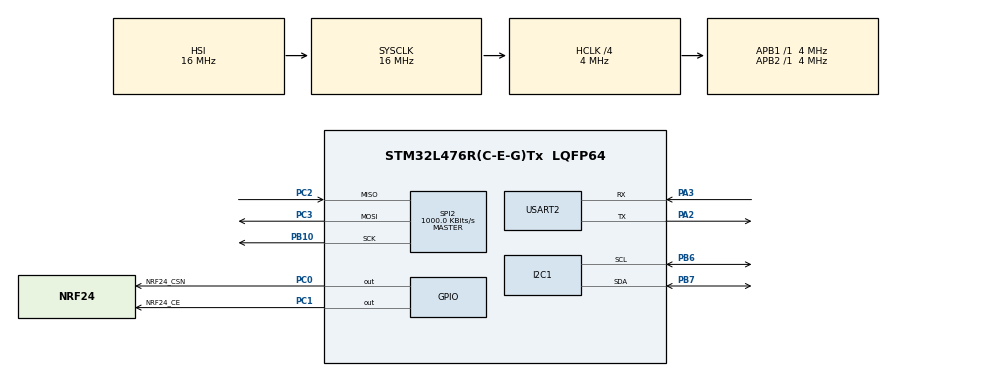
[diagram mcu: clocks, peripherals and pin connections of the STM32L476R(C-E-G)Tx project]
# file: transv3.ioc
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Mcu.Family=STM32L4
Mcu.Name=STM32L476R(C-E-G)Tx
Mcu.Package=LQFP64
NVIC.PriorityGroup=NVIC_PRIORITYGROUP_4
NVIC.RTC_WKUP_IRQn=true\:0\:0\:false\:false\:true\:true\:true\:true
PA2.Mode=Asynchronous
PA2.Signal=USART2_TX
PA3.Mode=Asynchronous
PA3.Signal=USART2_RX
PB10.Mode=Full_Duplex_Master
PB10.Signal=SPI2_SCK
PB6.Mode=I2C
PB6.Signal=I2C1_SCL
PB7.Mode=I2C
PB7.Signal=I2C1_SDA
PC0.GPIO_Label=NRF24_CSN
PC0.Signal=GPIO_Output
PC1.GPIO_Label=NRF24_CE
PC1.Signal=GPIO_Output
PC2.Mode=Full_Duplex_Master
PC2.Signal=SPI2_MISO
PC3.Mode=Full_Duplex_Master
PC3.Signal=SPI2_MOSI
ProjectManager.HeapSize=0x200
ProjectManager.StackSize=0x400
ProjectManager.TargetToolchain=STM32CubeIDE
RCC.ADCFreq_Value=16000000
RCC.AHBCLKDivider=RCC_SYSCLK_DIV4
RCC.AHBFreq_Value=4000000
RCC.APB1Freq_Value=4000000
RCC.APB1TimFreq_Value=4000000
RCC.APB2Freq_Value=4000000
RCC.APB2TimFreq_Value=4000000
RCC.CortexFreq_Value=4000000
RCC.HCLKFreq_Value=4000000
RCC.HSE_VALUE=8000000
RCC.HSI_VALUE=16000000
RCC.LSE_VALUE=32768
RCC.MSI_VALUE=4000000
RCC.PLLN=20
RCC.SYSCLKFreq_VALUE=16000000
RCC.SYSCLKSource=RCC_SYSCLKSOURCE_HSI
RCC.USBFreq_Value=16000000
RCC.VCOOutputFreq_Value=80000000
SPI2.BaudRatePrescaler=SPI_BAUDRATEPRESCALER_4
SPI2.CalculateBaudRate=1000.0 KBits/s
SPI2.DataSize=SPI_DATASIZE_8BIT
SPI2.Direction=SPI_DIRECTION_2LINES
SPI2.Mode=SPI_MODE_MASTER
SPI2.VirtualType=VM_MASTER
USART2.VirtualMode-Asynchronous=VM_ASYNC
VP_RTC_VS_RTC_Activate.Mode=RTC_Enabled
VP_RTC_VS_RTC_WakeUp_intern.Mode=WakeUp
board=custom

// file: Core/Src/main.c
/* USER CODE BEGIN Header */
/**
  ******************************************************************************
  * @file           : main.c
  * @brief          : Main program body
  ******************************************************************************
  * @attention
  *
  * Copyright (c) 2023 STMicroelectronics.
  * All rights reserved.
  *
  * This software is licensed under terms that can be found in the LICENSE file
  * in the root directory of this software component.
  * If no LICENSE file comes with this software, it is provided AS-IS.
  *
  ******************************************************************************
  */
/* USER CODE END Header */
#include "main.h"
#include "i2c.h"
#include "rtc.h"
#include "spi.h"
#include "usart.h"
#include "gpio.h"

/* USER CODE BEGIN Includes */
#include "stdio.h"
#include "nRF24_Defs.h"
#include "nRF24.h"
#include "../BME280/bme280.h"
#include "i2c_driver.h"
/* USER CODE END Includes */

/* USER CODE BEGIN PV */
volatile uint8_t nrf24_rx_flag, nrf24_tx_flag, nrf24_mr_flag;
uint8_t Nrf24_Message[NRF24_PAYLOAD_SIZE];
uint8_t Message[32];
uint8_t MessageLength;
/* USER CODE END PV */

void SystemClock_Config(void);
/* USER CODE BEGIN PFP */

void HAL_RTCEx_WakeUpTimerEventCallback(RTC_HandleTypeDef *hrtc);
void bme280_reading();

/* USER CODE END PFP */

/* USER CODE BEGIN 0 */
float temperature =0;
float humidity =0;
float pressure =0;

struct bme280_dev dev;
struct bme280_data comp_data;
int8_t rslt;

char line1[16];
char line2[16];
char line3[16];

  uint8_t i;
/* USER CODE END 0 */

int main(void)
{

  /* MCU Configuration--------------------------------------------------------*/

  /* Reset of all peripherals, Initializes the Flash interface and the Systick. */
  HAL_Init();

  /* Configure the system clock */
  SystemClock_Config();

  /* Initialize all configured peripherals */
  MX_GPIO_Init();
  MX_SPI2_Init();
  MX_I2C1_Init();
  MX_USART2_UART_Init();
  MX_RTC_Init();
  /* USER CODE BEGIN 2 */
  dev.dev_id = BME280_I2C_ADDR_PRIM;
    dev.intf = BME280_I2C_INTF;
    dev.read = user_i2c_read;
    dev.write = user_i2c_write;
    dev.delay_ms = user_delay_ms;

    rslt = bme280_init(&dev);

     dev.settings.osr_h = BME280_OVERSAMPLING_1X;
     dev.settings.osr_p = BME280_OVERSAMPLING_16X;
     dev.settings.osr_t = BME280_OVERSAMPLING_2X;
     dev.settings.filter = BME280_FILTER_COEFF_16;
     rslt = bme280_set_sensor_settings(BME280_OSR_PRESS_SEL | BME280_OSR_TEMP_SEL | BME280_OSR_HUM_SEL | BME280_FILTER_SEL, &dev);

     rslt = bme280_set_sensor_mode(BME280_NORMAL_MODE, &dev);
     dev.delay_ms(40);

     rslt = bme280_get_sensor_data(BME280_ALL, &comp_data, &dev);

     /****** Suspend the Ticks before entering the STOP mode or else this can wake the device up **********/

  /* USER CODE END 2 */

  /* Infinite loop */
  /* USER CODE BEGIN WHILE */
  while (1)
  {

	  	  SystemClock_Config();

	  	 HAL_RTCEx_SetWakeUpTimer_IT(&hrtc, 0xEA60, RTC_WAKEUPCLOCK_RTCCLK_DIV16);

	     char *str = "GOING IN STOP MODE!!!\n\n";
	     HAL_UART_Transmit(&huart2, (uint8_t *) str, strlen (str), HAL_MAX_DELAY);
	     bme280_set_sensor_mode(BME280_SLEEP_MODE, &dev);
	     /* Enter Stop Mode */
	     HAL_SuspendTick();
	     HAL_PWR_EnterSTOPMode(PWR_LOWPOWERREGULATOR_ON, PWR_STOPENTRY_WFI);

	     HAL_RTCEx_DeactivateWakeUpTimer(&hrtc);

	     bme280_set_sensor_mode(BME280_NORMAL_MODE, &dev);
	     nRF24_Init(&hspi2);
	     nRF24_SetRXAddress(0, "Nad");
	     nRF24_SetTXAddress("Odb");
	     nRF24_TX_Mode();

	     for(i=0; i<5; i++)
	     	 	  {
	     	 		  MessageLength = sprintf(Message, "%03.1f%03.1f%03.1f", temperature, humidity,pressure );
	     	 		  nRF24_WriteTXPayload(Message);
	     	 		  HAL_Delay(1);
	     	 		  nRF24_WaitTX();
	     	 		  bme280_reading();
	     	 		  HAL_Delay(1000);
	     	 	  }

	     bme280_set_sensor_mode(BME280_SLEEP_MODE, &dev);

    /* USER CODE END WHILE */

  }
}

void SystemClock_Config(void)
{
  RCC_OscInitTypeDef RCC_OscInitStruct = {0};
  RCC_ClkInitTypeDef RCC_ClkInitStruct = {0};

  /** Configure the main internal regulator output voltage
  */
  if (HAL_PWREx_ControlVoltageScaling(PWR_REGULATOR_VOLTAGE_SCALE1) != HAL_OK)
  {
    Error_Handler();
  }

  /** Initializes the RCC Oscillators according to the specified parameters
  * in the RCC_OscInitTypeDef structure.
  */
  RCC_OscInitStruct.OscillatorType = RCC_OSCILLATORTYPE_HSI|RCC_OSCILLATORTYPE_LSI;
  RCC_OscInitStruct.HSIState = RCC_HSI_ON;
  RCC_OscInitStruct.HSICalibrationValue = RCC_HSICALIBRATION_DEFAULT;
  RCC_OscInitStruct.LSIState = RCC_LSI_ON;
  RCC_OscInitStruct.PLL.PLLState = RCC_PLL_NONE;
  if (HAL_RCC_OscConfig(&RCC_OscInitStruct) != HAL_OK)
  {
    Error_Handler();
  }

  /** Initializes the CPU, AHB and APB buses clocks
  */
  RCC_ClkInitStruct.ClockType = RCC_CLOCKTYPE_HCLK|RCC_CLOCKTYPE_SYSCLK
                              |RCC_CLOCKTYPE_PCLK1|RCC_CLOCKTYPE_PCLK2;
  RCC_ClkInitStruct.SYSCLKSource = RCC_SYSCLKSOURCE_HSI;
  RCC_ClkInitStruct.AHBCLKDivider = RCC_SYSCLK_DIV4;
  RCC_ClkInitStruct.APB1CLKDivider = RCC_HCLK_DIV1;
  RCC_ClkInitStruct.APB2CLKDivider = RCC_HCLK_DIV1;

  if (HAL_RCC_ClockConfig(&RCC_ClkInitStruct, FLASH_LATENCY_0) != HAL_OK)
  {
    Error_Handler();
  }
}

/* USER CODE BEGIN 4 */
void HAL_RTCEx_WakeUpTimerEventCallback(RTC_HandleTypeDef *hrtc)
{
	SystemClock_Config ();
	HAL_ResumeTick();
	char *str = "WAKEUP FROM RTC\n NOW GOING IN STOP MODE AGAIN\n\n";
	HAL_UART_Transmit(&huart2, (uint8_t *) str, strlen (str), HAL_MAX_DELAY);

}

void bme280_reading()
{
	rslt = bme280_get_sensor_data(BME280_ALL, &comp_data, &dev);
		 	     if(rslt == BME280_OK)
		 	     {
		 	       temperature = comp_data.temperature / 100.0;      /* °C  */
		 	       humidity = comp_data.humidity / 1024.0;           /* %   */
		 	       pressure = comp_data.pressure / 10000.0;          /* hPa */

		 	       sprintf(line1, "HUMID: %03.1f \n", humidity);
		 	       sprintf(line2, "TEMP: %03.1f \n", temperature);
		 	       sprintf(line3, "PRESS: %03.1f \n", pressure);

		 	       HAL_UART_Transmit(&huart2,(uint8_t *) line1, strlen(line1), HAL_MAX_DELAY);
		 	       HAL_UART_Transmit(&huart2,(uint8_t *) line2, strlen(line2), HAL_MAX_DELAY);
		 	       HAL_UART_Transmit(&huart2,(uint8_t *) line3, strlen(line3), HAL_MAX_DELAY);
		 	       HAL_GPIO_TogglePin(GPIOC, GPIO_PIN_3);

		 	     	 }

}

/* USER CODE END 4 */

void Error_Handler(void)
{
  __disable_irq();
  while (1)
  {
  }
}
